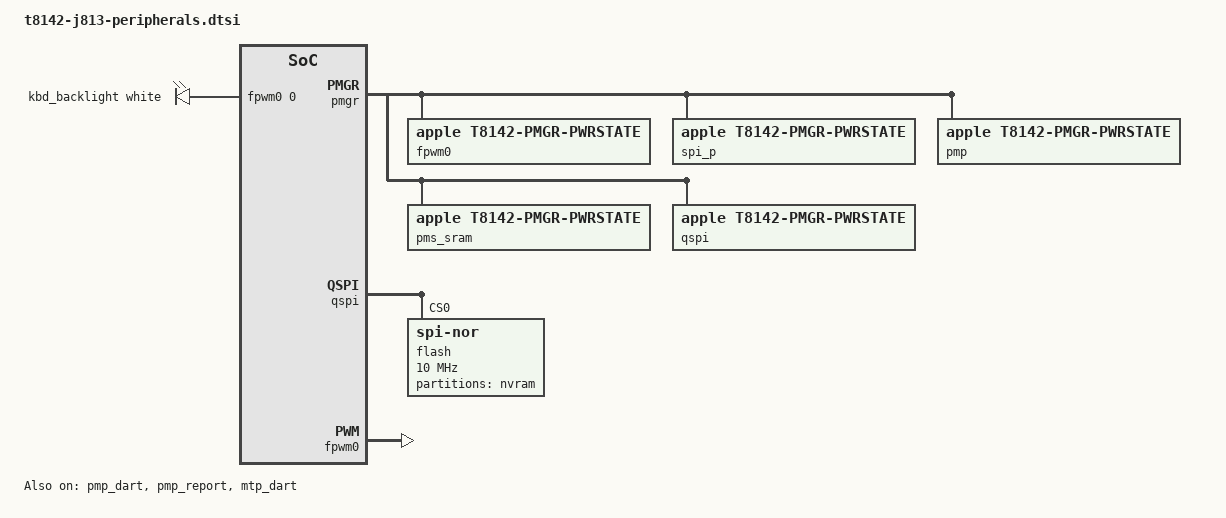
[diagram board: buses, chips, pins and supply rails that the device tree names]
// SPDX-License-Identifier: GPL-2.0+ OR MIT
#include <dt-bindings/leds/common.h>

/ {
	aliases {
		nvram = &nvram;
	};

	/* J813 ADT /arm-io/qspi clock-ids [396]; rate as the T8140 QSPI. */
	clk_qspi: clock-qspi {
		compatible = "fixed-clock";
		#clock-cells = <0>;
		clock-frequency = <200000000>;
		clock-output-names = "clk_qspi";
	};

	led-controller {
		compatible = "pwm-leds";

		led-0 {
			pwms = <&fpwm0 0 40000>;
			label = "kbd_backlight";
			function = LED_FUNCTION_KBD_BACKLIGHT;
			color = <LED_COLOR_ID_WHITE>;
			max-brightness = <255>;
			default-state = "keep";
		};
	};
};

&pmgr {
	/* As on T8140: up to the ISP17a slots at +0x4000..+0x4060. */
	reg = <3 0x80700000 0 0x14000>;
	status = "okay";

	ps_fpwm0: power-controller@330 {
		compatible = "apple,t8142-pmgr-pwrstate", "apple,t8103-pmgr-pwrstate";
		reg = <0x330 4>;
		#power-domain-cells = <0>;
		#reset-cells = <0>;
		label = "fpwm0";
	};

	/* ADT pmgr devices: SPI_P id 94 (+0x390), QSPI id 120 (+0x460). */
	ps_spi_p: power-controller@390 {
		compatible = "apple,t8142-pmgr-pwrstate", "apple,t8103-pmgr-pwrstate";
		reg = <0x390 4>;
		#power-domain-cells = <0>;
		#reset-cells = <0>;
		label = "spi_p";
	};

	/* ADT pmgr devices: PMP id 159 (+0x598), PMS_SRAM id 160 (+0x5a0). */
	ps_pmp: power-controller@598 {
		compatible = "apple,t8142-pmgr-pwrstate", "apple,t8103-pmgr-pwrstate";
		reg = <0x598 4>;
		#power-domain-cells = <0>;
		#reset-cells = <0>;
		label = "pmp";
		/* The PMP's SRAM, which the driver reads first. */
		power-domains = <&ps_pms_sram>;
		/*
		 * As on T8140/T8132: the PMP firmware keeps running. If genpd
		 * gates this domain at s2idle, the PMP crashes on its own MMIO.
		 */
		apple,always-on;
	};

	ps_pms_sram: power-controller@5a0 {
		compatible = "apple,t8142-pmgr-pwrstate", "apple,t8103-pmgr-pwrstate";
		reg = <0x5a0 4>;
		#power-domain-cells = <0>;
		#reset-cells = <0>;
		label = "pms_sram";
		/* T8140 holds it through its always-on PMP report node. */
		apple,always-on;
	};

	ps_qspi: power-controller@460 {
		compatible = "apple,t8142-pmgr-pwrstate", "apple,t8103-pmgr-pwrstate";
		reg = <0x460 4>;
		#power-domain-cells = <0>;
		#reset-cells = <0>;
		label = "qspi";
		power-domains = <&ps_spi_p>;
	};
};

&{/soc} {
	/*
	 * PMP, laid out as on T8140 (ADT /arm-io/pmp, dart-pmp): it runs the
	 * DRAM controller (DCS) and fabric DVFS. Without it the memory stays at
	 * the bootloader's state (memcpy ~20 GB/s against ~120 GB/s on macOS).
	 */

	pmp: pmp@380500000 {
		compatible = "apple,t8142-pmp-v2", "apple,t8140-pmp-v2";
		reg = <0x3 0x80500000 0x0 0xd0000>,
		      <0x3 0x80e00000 0x0 0x4000>;
		reg-names = "pmp", "asc";
		mboxes = <&pmp_mbox>;
		mbox-names = "mbox";
		iommus = <&pmp_dart 0>;
		power-domains = <&ps_pmp>;
		/* ADT /chosen board-id, dram-vendor-id */
		apple,board-id = <36>;
		apple,dram-vendor-id = <1>;
		/* ADT /arm-io/pmgr pmc, pmc-pmgr (registry-v2 boot arguments) */
		apple,pmc = <1>;
		apple,pmc-pmgr = <31>;
	};

	pmp_mbox: mailbox@380e08000 {
		compatible = "apple,t8142-asc-mailbox", "apple,asc-mailbox-v4";
		reg = <0x3 0x80e08000 0x0 0x4000>;
		interrupt-parent = <&aic>;
		interrupts = <AIC_IRQ 1000 IRQ_TYPE_LEVEL_HIGH>,
			     <AIC_IRQ 1001 IRQ_TYPE_LEVEL_HIGH>,
			     <AIC_IRQ 1002 IRQ_TYPE_LEVEL_HIGH>,
			     <AIC_IRQ 1003 IRQ_TYPE_LEVEL_HIGH>;
		interrupt-names = "send-empty", "send-not-empty",
				  "recv-empty", "recv-not-empty";
		#mbox-cells = <0>;
		power-domains = <&ps_pmp>;
	};

	/* ADT /arm-io/qspi: 0x195118000 and its FIFO window at +0x800, IRQ 1245. */
	qspi: spi@3a5118000 {
		compatible = "apple,t8142-qspi", "apple,t8140-qspi";
		reg = <0x3 0xa5118000 0x0 0x4800>;
		clocks = <&clk_qspi>;
		interrupt-parent = <&aic>;
		interrupts = <AIC_IRQ 1245 IRQ_TYPE_LEVEL_HIGH>;
		#address-cells = <1>;
		#size-cells = <0>;
		power-domains = <&ps_qspi>;

		flash@0 {
			compatible = "jedec,spi-nor";
			reg = <0>;
			/* Conservative until the input clock is confirmed. */
			spi-max-frequency = <10000000>;

			partitions {
				compatible = "fixed-partitions";
				#address-cells = <1>;
				#size-cells = <1>;

				/* ADT spinor/anvram reg: 0x100000 bytes at 0x700000. */
				nvram: partition@700000 {
					label = "nvram";
					reg = <0x700000 0x100000>;
				};
			};
		};
	};

	fpwm0: pwm@3a5040000 {
		compatible = "apple,t8142-fpwm", "apple,s5l-fpwm";
		reg = <3 0xa5040000 0 0x4000>;
		power-domains = <&ps_fpwm0>;
		clocks = <&clkref>;
		#pwm-cells = <2>;
	};
};
#include "t8142-j813-pmp-tunables.dtsi"

&pmp_dart {
	apple,dma-range = /bits/ 64 <0x10000000000 0xbff00000>;
	power-domains = <&ps_pmp>;
	status = "okay";
};

&pmp_report {
	power-domains = <&ps_pms_sram>;
	status = "okay";
};

&mtp_dart {
	reg = <3 0x94800000 0 0xc000>;
	/delete-property/ reg-names;
	/* Keep host allocations clear of firmware's low IOVA mappings. */
	apple,dma-range = <0 0x02000000 0 0x10000000>;
	status = "okay";
};
